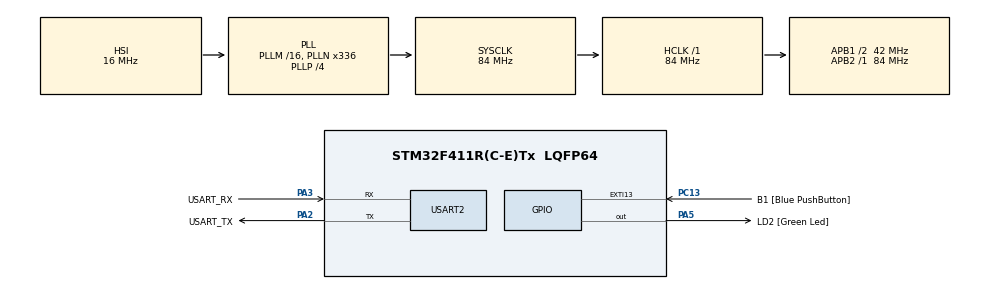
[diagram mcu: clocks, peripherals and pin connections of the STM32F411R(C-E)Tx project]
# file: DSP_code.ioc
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Mcu.Family=STM32F4
Mcu.Name=STM32F411R(C-E)Tx
Mcu.Package=LQFP64
NVIC.PriorityGroup=NVIC_PRIORITYGROUP_0
PA13.GPIO_Label=TMS
PA13.Mode=Trace_Asynchronous_SW
PA13.Signal=SYS_JTMS-SWDIO
PA14.GPIO_Label=TCK
PA14.Mode=Trace_Asynchronous_SW
PA14.Signal=SYS_JTCK-SWCLK
PA2.GPIO_Label=USART_TX
PA2.Mode=Asynchronous
PA2.Signal=USART2_TX
PA3.GPIO_Label=USART_RX
PA3.Mode=Asynchronous
PA3.Signal=USART2_RX
PA5.GPIO_Label=LD2 [Green Led]
PA5.Signal=GPIO_Output
PB3.GPIO_Label=SWO
PB3.Mode=Trace_Asynchronous_SW
PB3.Signal=SYS_JTDO-SWO
PC13-ANTI_TAMP.GPIO_Label=B1 [Blue PushButton]
PC13-ANTI_TAMP.GPIO_ModeDefaultEXTI=GPIO_MODE_IT_FALLING
PC13-ANTI_TAMP.Signal=GPXTI13
PC14-OSC32_IN.Mode=LSE-External-Oscillator
PC14-OSC32_IN.Signal=RCC_OSC32_IN
PC15-OSC32_OUT.Mode=LSE-External-Oscillator
PC15-OSC32_OUT.Signal=RCC_OSC32_OUT
PH0\ -\ OSC_IN.Mode=HSE-External-Clock-Source
PH0\ -\ OSC_IN.Signal=RCC_OSC_IN
PH1\ -\ OSC_OUT.Mode=HSE-External-Clock-Source
PH1\ -\ OSC_OUT.Signal=RCC_OSC_OUT
ProjectManager.HeapSize=0x200
ProjectManager.StackSize=0x400
ProjectManager.TargetToolchain=STM32CubeIDE
RCC.48MHZClocksFreq_Value=84000000
RCC.AHBFreq_Value=84000000
RCC.APB1CLKDivider=RCC_HCLK_DIV2
RCC.APB1Freq_Value=42000000
RCC.APB1TimFreq_Value=84000000
RCC.APB2Freq_Value=84000000
RCC.APB2TimFreq_Value=84000000
RCC.CortexFreq_Value=84000000
RCC.FLatency-AdvancedSettings=FLASH_LATENCY_2
RCC.HCLKFreq_Value=84000000
RCC.HSE_VALUE=8000000
RCC.HSI_VALUE=16000000
RCC.PLLN=336
RCC.PLLP=RCC_PLLP_DIV4
RCC.SYSCLKFreq_VALUE=84000000
RCC.SYSCLKSource=RCC_SYSCLKSOURCE_PLLCLK
RCC.VCOOutputFreq_Value=336000000
USART2.VirtualMode=VM_ASYNC
board=NUCLEO-F411RE

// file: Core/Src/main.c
/* USER CODE BEGIN Header */
/**
  ******************************************************************************
  * @file           : main.c
  * @brief          : Main program body
  ******************************************************************************
  * @attention
  *
  * Copyright (c) 2023 STMicroelectronics.
  * All rights reserved.
  *
  * This software is licensed under terms that can be found in the LICENSE file
  * in the root directory of this software component.
  * If no LICENSE file comes with this software, it is provided AS-IS.
  *
  ******************************************************************************
  */
/* USER CODE END Header */
#include "main.h"

/* USER CODE BEGIN Includes */
#include "arm_math.h"
/* USER CODE END Includes */

UART_HandleTypeDef huart2;

/* USER CODE BEGIN PV */
//_____________________________________________________________________________________
arm_pid_instance_f32 PID = {0}; //struct PID and set all to 0
float pos = 0;
float set_pos = 0;
float Vfeedback = 0;
float Ess = 0;
/* USER CODE END PV */

void SystemClock_Config(void);
static void MX_GPIO_Init(void);
static void MX_USART2_UART_Init(void);
/* USER CODE BEGIN PFP */
float Plantsimulation(float VIn);
/* USER CODE END PFP */

int main(void)
{

  /* MCU Configuration--------------------------------------------------------*/

  /* Reset of all peripherals, Initializes the Flash interface and the Systick. */
  HAL_Init();

  /* Configure the system clock */
  SystemClock_Config();

  /* Initialize all configured peripherals */
  MX_GPIO_Init();
  MX_USART2_UART_Init();
  /* USER CODE BEGIN 2 */
  PID.Kp = 0.1; //set P
  PID.Ki = 0.00001; //set I
  PID.Kd = 0.1;//set D
  arm_pid_init_f32(&PID, 0);//Update value to PID calculation
  /* USER CODE END 2 */

  /* Infinite loop */
  while (1)
  {

    /* USER CODE BEGIN 3 */
	  static uint32_t timestamp = 0;
	  if(timestamp < HAL_GetTick()){
		timestamp = HAL_GetTick() + 10;// 100 HZ
		Ess = set_pos - pos;	  //tracking Error
		Vfeedback = arm_pid_f32(&PID, Ess);
		pos = Plantsimulation(Vfeedback);
	  }
  }
  /* USER CODE END 3 */
}

void SystemClock_Config(void)
{
  RCC_OscInitTypeDef RCC_OscInitStruct = {0};
  RCC_ClkInitTypeDef RCC_ClkInitStruct = {0};

  /** Configure the main internal regulator output voltage
  */
  __HAL_RCC_PWR_CLK_ENABLE();
  __HAL_PWR_VOLTAGESCALING_CONFIG(PWR_REGULATOR_VOLTAGE_SCALE1);

  /** Initializes the RCC Oscillators according to the specified parameters
  * in the RCC_OscInitTypeDef structure.
  */
  RCC_OscInitStruct.OscillatorType = RCC_OSCILLATORTYPE_HSI;
  RCC_OscInitStruct.HSIState = RCC_HSI_ON;
  RCC_OscInitStruct.HSICalibrationValue = RCC_HSICALIBRATION_DEFAULT;
  RCC_OscInitStruct.PLL.PLLState = RCC_PLL_ON;
  RCC_OscInitStruct.PLL.PLLSource = RCC_PLLSOURCE_HSI;
  RCC_OscInitStruct.PLL.PLLM = 16;
  RCC_OscInitStruct.PLL.PLLN = 336;
  RCC_OscInitStruct.PLL.PLLP = RCC_PLLP_DIV4;
  RCC_OscInitStruct.PLL.PLLQ = 4;
  if (HAL_RCC_OscConfig(&RCC_OscInitStruct) != HAL_OK)
  {
    Error_Handler();
  }

  /** Initializes the CPU, AHB and APB buses clocks
  */
  RCC_ClkInitStruct.ClockType = RCC_CLOCKTYPE_HCLK|RCC_CLOCKTYPE_SYSCLK
                              |RCC_CLOCKTYPE_PCLK1|RCC_CLOCKTYPE_PCLK2;
  RCC_ClkInitStruct.SYSCLKSource = RCC_SYSCLKSOURCE_PLLCLK;
  RCC_ClkInitStruct.AHBCLKDivider = RCC_SYSCLK_DIV1;
  RCC_ClkInitStruct.APB1CLKDivider = RCC_HCLK_DIV2;
  RCC_ClkInitStruct.APB2CLKDivider = RCC_HCLK_DIV1;

  if (HAL_RCC_ClockConfig(&RCC_ClkInitStruct, FLASH_LATENCY_2) != HAL_OK)
  {
    Error_Handler();
  }
}

static void MX_USART2_UART_Init(void)
{

  huart2.Instance = USART2;
  huart2.Init.BaudRate = 115200;
  huart2.Init.WordLength = UART_WORDLENGTH_8B;
  huart2.Init.StopBits = UART_STOPBITS_1;
  huart2.Init.Parity = UART_PARITY_NONE;
  huart2.Init.Mode = UART_MODE_TX_RX;
  huart2.Init.HwFlowCtl = UART_HWCONTROL_NONE;
  huart2.Init.OverSampling = UART_OVERSAMPLING_16;
  if (HAL_UART_Init(&huart2) != HAL_OK)
  {
    Error_Handler();
  }

}

static void MX_GPIO_Init(void)
{
  GPIO_InitTypeDef GPIO_InitStruct = {0};

  /* GPIO Ports Clock Enable */
  __HAL_RCC_GPIOC_CLK_ENABLE();
  __HAL_RCC_GPIOH_CLK_ENABLE();
  __HAL_RCC_GPIOA_CLK_ENABLE();
  __HAL_RCC_GPIOB_CLK_ENABLE();

  /*Configure GPIO pin Output Level */
  HAL_GPIO_WritePin(LD2_GPIO_Port, LD2_Pin, GPIO_PIN_RESET);

  /*Configure GPIO pin : B1_Pin */
  GPIO_InitStruct.Pin = B1_Pin;
  GPIO_InitStruct.Mode = GPIO_MODE_IT_FALLING;
  GPIO_InitStruct.Pull = GPIO_NOPULL;
  HAL_GPIO_Init(B1_GPIO_Port, &GPIO_InitStruct);

  /*Configure GPIO pin : LD2_Pin */
  GPIO_InitStruct.Pin = LD2_Pin;
  GPIO_InitStruct.Mode = GPIO_MODE_OUTPUT_PP;
  GPIO_InitStruct.Pull = GPIO_NOPULL;
  GPIO_InitStruct.Speed = GPIO_SPEED_FREQ_LOW;
  HAL_GPIO_Init(LD2_GPIO_Port, &GPIO_InitStruct);

}

/* USER CODE BEGIN 4 */
float Plantsimulation(float VIn){
	static float speed = 0;
	static float position = 0;
	float current = VIn - speed * 0.0123;
	float torque = current * 0.456;
	float acc = torque * 0.789;
	speed += acc;
	position += speed;
	return position;
}
/* USER CODE END 4 */

void Error_Handler(void)
{
  __disable_irq();
  while (1)
  {
  }
}
